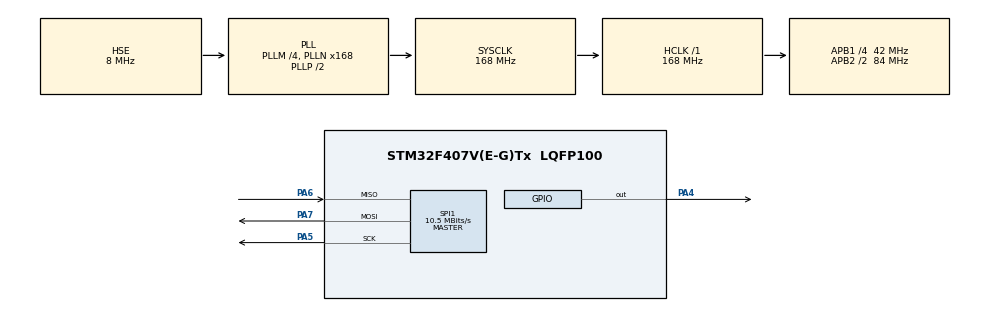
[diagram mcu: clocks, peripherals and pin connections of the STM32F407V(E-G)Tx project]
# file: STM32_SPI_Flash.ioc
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Mcu.Family=STM32F4
Mcu.Name=STM32F407V(E-G)Tx
Mcu.Package=LQFP100
NVIC.PriorityGroup=NVIC_PRIORITYGROUP_4
PA4.Signal=GPIO_Output
PA5.Mode=Full_Duplex_Master
PA5.Signal=SPI1_SCK
PA6.Mode=Full_Duplex_Master
PA6.Signal=SPI1_MISO
PA7.Mode=Full_Duplex_Master
PA7.Signal=SPI1_MOSI
PH0-OSC_IN.Mode=HSE-External-Oscillator
PH0-OSC_IN.Signal=RCC_OSC_IN
PH1-OSC_OUT.Mode=HSE-External-Oscillator
PH1-OSC_OUT.Signal=RCC_OSC_OUT
ProjectManager.HeapSize=0x2000
ProjectManager.StackSize=0x4000
ProjectManager.TargetToolchain=STM32CubeIDE
RCC.48MHZClocksFreq_Value=84000000
RCC.AHBFreq_Value=168000000
RCC.APB1CLKDivider=RCC_HCLK_DIV4
RCC.APB1Freq_Value=42000000
RCC.APB1TimFreq_Value=84000000
RCC.APB2CLKDivider=RCC_HCLK_DIV2
RCC.APB2Freq_Value=84000000
RCC.APB2TimFreq_Value=168000000
RCC.CortexFreq_Value=168000000
RCC.HCLKFreq_Value=168000000
RCC.HSE_VALUE=8000000
RCC.HSI_VALUE=16000000
RCC.LSE_VALUE=32768
RCC.PLLM=4
RCC.PLLN=168
RCC.PLLSourceVirtual=RCC_PLLSOURCE_HSE
RCC.SYSCLKFreq_VALUE=168000000
RCC.SYSCLKSource=RCC_SYSCLKSOURCE_PLLCLK
RCC.VCOOutputFreq_Value=336000000
SPI1.BaudRatePrescaler=SPI_BAUDRATEPRESCALER_8
SPI1.CalculateBaudRate=10.5 MBits/s
SPI1.Direction=SPI_DIRECTION_2LINES
SPI1.Mode=SPI_MODE_MASTER
SPI1.VirtualType=VM_MASTER
VP_FATFS_VS_Generic.Mode=User_defined
board=custom

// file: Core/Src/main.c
/* USER CODE BEGIN Header */
/**
  ******************************************************************************
  * @file           : main.c
  * @brief          : Main program body
  ******************************************************************************
  * @attention
  *
  * <h2><center>&copy; Copyright (c) 2021 STMicroelectronics.
  * All rights reserved.</center></h2>
  *
  * This software component is licensed by ST under BSD 3-Clause license,
  * the "License"; You may not use this file except in compliance with the
  * License. You may obtain a copy of the License at:
  *                        opensource.org/licenses/BSD-3-Clause
  *
  ******************************************************************************
  */
/* USER CODE END Header */
#include "main.h"
#include "fatfs.h"

/* USER CODE BEGIN Includes */
#include "spi_flash.h"
#include "ff_gen_drv.h"
/* USER CODE END Includes */

SPI_HandleTypeDef hspi1;

/* USER CODE BEGIN PV */
FATFS FatFs;
FRESULT fres;
FIL SFLASHPath[];
char buffer[512];
char str[100] = {"Hello World\0"};
int bw;
/* USER CODE END PV */

void SystemClock_Config(void);
static void MX_GPIO_Init(void);
static void MX_SPI1_Init(void);

int main(void)
{

  /* MCU Configuration--------------------------------------------------------*/

  /* Reset of all peripherals, Initializes the Flash interface and the Systick. */
  HAL_Init();

  /* Configure the system clock */
  SystemClock_Config();

  /* Initialize all configured peripherals */
  MX_GPIO_Init();
  MX_SPI1_Init();
  MX_FATFS_Init();
  /* USER CODE BEGIN 2 */
  HAL_Delay(100);

  //format drive
  //f_mkfs("", FM_ANY, 0, buffer, sizeof(buffer));

  FATFS_LinkDriver(&USER_Driver, SFLASHPath);

  //Mount drive
  fres = f_mount(&FatFs, &SFLASHPath, 0);
  if (fres != FR_OK)
  {
    while(1);
  }

  fres = f_open(&SFLASHPath, "test", FA_CREATE_ALWAYS | FA_WRITE);
  if (fres != FR_OK)
  {
 	 while(1);
  }
  else
  {
	  fres = f_write(&SFLASHPath, &str, sizeof(str), bw);
	  fres = f_close(&SFLASHPath);
  }

  fres = f_open(&SFLASHPath, "test", FA_READ);
  if (fres != FR_OK)
  {
	  while(1);
  }
  else
  {
	  fres = f_read(&SFLASHPath, &buffer, 11, bw);
  }
  f_close(&SFLASHPath);
  /* USER CODE END 2 */

  /* Infinite loop */
  while (1)
  {

  }
}

void SystemClock_Config(void)
{
  RCC_OscInitTypeDef RCC_OscInitStruct = {0};
  RCC_ClkInitTypeDef RCC_ClkInitStruct = {0};

  /** Configure the main internal regulator output voltage
  */
  __HAL_RCC_PWR_CLK_ENABLE();
  __HAL_PWR_VOLTAGESCALING_CONFIG(PWR_REGULATOR_VOLTAGE_SCALE1);
  /** Initializes the RCC Oscillators according to the specified parameters
  * in the RCC_OscInitTypeDef structure.
  */
  RCC_OscInitStruct.OscillatorType = RCC_OSCILLATORTYPE_HSE;
  RCC_OscInitStruct.HSEState = RCC_HSE_ON;
  RCC_OscInitStruct.PLL.PLLState = RCC_PLL_ON;
  RCC_OscInitStruct.PLL.PLLSource = RCC_PLLSOURCE_HSE;
  RCC_OscInitStruct.PLL.PLLM = 4;
  RCC_OscInitStruct.PLL.PLLN = 168;
  RCC_OscInitStruct.PLL.PLLP = RCC_PLLP_DIV2;
  RCC_OscInitStruct.PLL.PLLQ = 4;
  if (HAL_RCC_OscConfig(&RCC_OscInitStruct) != HAL_OK)
  {
    Error_Handler();
  }
  /** Initializes the CPU, AHB and APB buses clocks
  */
  RCC_ClkInitStruct.ClockType = RCC_CLOCKTYPE_HCLK|RCC_CLOCKTYPE_SYSCLK
                              |RCC_CLOCKTYPE_PCLK1|RCC_CLOCKTYPE_PCLK2;
  RCC_ClkInitStruct.SYSCLKSource = RCC_SYSCLKSOURCE_PLLCLK;
  RCC_ClkInitStruct.AHBCLKDivider = RCC_SYSCLK_DIV1;
  RCC_ClkInitStruct.APB1CLKDivider = RCC_HCLK_DIV4;
  RCC_ClkInitStruct.APB2CLKDivider = RCC_HCLK_DIV2;

  if (HAL_RCC_ClockConfig(&RCC_ClkInitStruct, FLASH_LATENCY_5) != HAL_OK)
  {
    Error_Handler();
  }
}

static void MX_SPI1_Init(void)
{

  /* SPI1 parameter configuration*/
  hspi1.Instance = SPI1;
  hspi1.Init.Mode = SPI_MODE_MASTER;
  hspi1.Init.Direction = SPI_DIRECTION_2LINES;
  hspi1.Init.DataSize = SPI_DATASIZE_8BIT;
  hspi1.Init.CLKPolarity = SPI_POLARITY_LOW;
  hspi1.Init.CLKPhase = SPI_PHASE_1EDGE;
  hspi1.Init.NSS = SPI_NSS_SOFT;
  hspi1.Init.BaudRatePrescaler = SPI_BAUDRATEPRESCALER_8;
  hspi1.Init.FirstBit = SPI_FIRSTBIT_MSB;
  hspi1.Init.TIMode = SPI_TIMODE_DISABLE;
  hspi1.Init.CRCCalculation = SPI_CRCCALCULATION_DISABLE;
  hspi1.Init.CRCPolynomial = 10;
  if (HAL_SPI_Init(&hspi1) != HAL_OK)
  {
    Error_Handler();
  }

}

static void MX_GPIO_Init(void)
{
  GPIO_InitTypeDef GPIO_InitStruct = {0};

  /* GPIO Ports Clock Enable */
  __HAL_RCC_GPIOH_CLK_ENABLE();
  __HAL_RCC_GPIOA_CLK_ENABLE();

  /*Configure GPIO pin Output Level */
  HAL_GPIO_WritePin(GPIOA, GPIO_PIN_4, GPIO_PIN_RESET);

  /*Configure GPIO pin : PA4 */
  GPIO_InitStruct.Pin = GPIO_PIN_4;
  GPIO_InitStruct.Mode = GPIO_MODE_OUTPUT_PP;
  GPIO_InitStruct.Pull = GPIO_NOPULL;
  GPIO_InitStruct.Speed = GPIO_SPEED_FREQ_LOW;
  HAL_GPIO_Init(GPIOA, &GPIO_InitStruct);

}

void Error_Handler(void)
{
  __disable_irq();
  while (1)
  {
  }
}

/************************ (C) COPYRIGHT STMicroelectronics *****END OF FILE****/
